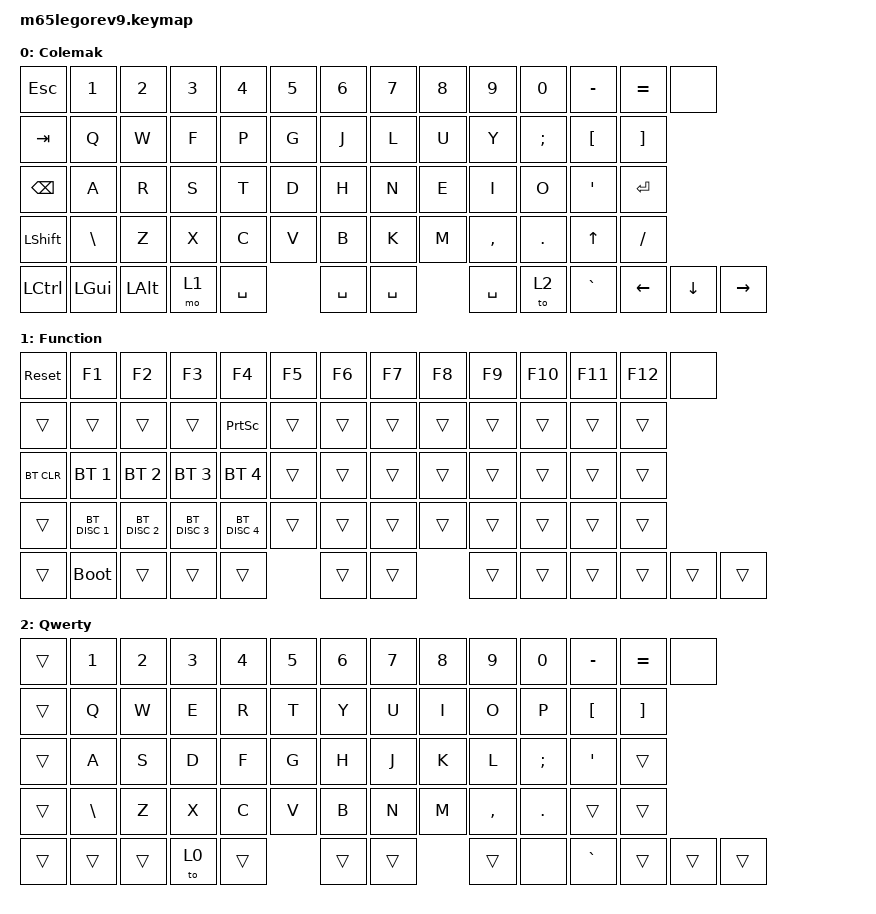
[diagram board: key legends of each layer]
#include <behaviors.dtsi>
#include <dt-bindings/zmk/keys.h>
#include <dt-bindings/zmk/behaviors.h>
#include <dt-bindings/zmk/bt.h>
#include <dt-bindings/zmk/hid_usage_pages.h>

/ {
  keymap {
    compatible = "zmk,keymap";

    default_layer { // 0
      display-name = "Colemak";
      // --------------------------------------------------------------------------------------------------
      // | ESC   |   1   |  2   |  3   |   4   |   5   |   6   |   7   |  8   |  9  |  0   |  -   |   =   |
      // | TAB   |   Q   |  W   |  F   |   P   |   G   |   J   |   L   |  U   |  Y  |  ;   |  [   |   ]   |
      // | BSPC  |   A   |  R   |  S   |   T   |   D   |   H   |   N   |  E   |  I  |  O   |  '   | ENTER |
      // | SHIFT |   \   |  Z   |  X   |   C   |   V   |   B   |   K   |  M   |  ,  |  .   |  UP  |   /   |
      // | LCTL  | SUPER | LALT | LOWR | SPACE | SPACE | SPACE | SPACE | RAIS |  `  | LEFT | DOWN | RIGHT |
      bindings = <
        &kp ESC    &kp N1   &kp N2 &kp N3 &kp N4 &kp N5 &kp N6 &kp N7 &kp N8 &kp N9    &kp N0   &kp MINUS        &kp EQUAL     &none
        &kp TAB    &kp Q    &kp W  &kp F  &kp P  &kp G  &kp J  &kp L  &kp U  &kp Y     &kp SEMI &kp LBKT         &kp RBKT
        &kp BSPC   &kp A    &kp R  &kp S  &kp T  &kp D  &kp H  &kp N  &kp E  &kp I     &kp O    &kp SINGLE_QUOTE &kp ENTER
        &kp LSHIFT &kp BSLH &kp Z  &kp X  &kp C  &kp V  &kp B  &kp K  &kp M  &kp COMMA &kp DOT  &kp UP           &kp FSLH 
        &kp LCTRL  &kp LGUI &kp LALT &mo 1  &kp SPACE &kp SPACE &kp SPACE &kp SPACE &to 2 &kp GRAVE &kp LEFT &kp DOWN &kp RIGHT
        >;
    };
    
    function { // 1
      display-name = "Function";
      // --------------------------------------------------------------------------------------------------
      // | RESET |  F1   | F2   | F3   |  F4   |  F5   |  F6   |  F7   | F8   | F9  |  F10 |  F11 |  F12  |
      // |       |       |      |      | PSCR  |       |       |       |      |     |      |      |       |
      // | BTCLR |  BT 1 | BT 2 | BT 3 | BT 4  |       |       |       |      |     |      |      |       |
      // |       | DC 1  | DC 2 | DC 3 | DC 4  |       |       |       |      |     |      |      |       |
      // |       | BTLDR |      |      |       |       |       |       |      |     |      |      |       |
      bindings = <
        &sys_reset    &kp F1        &kp F2         &kp F3        &kp F4      &kp F5 &kp F6 &kp F7 &kp F8 &kp F9 &kp F10 &kp F11 &kp F12 &none
        &trans        &trans        &trans       &trans      &kp PRINTSCREEN &trans &trans &trans &trans &trans &trans  &trans  &trans
        &bt BT_CLR &bt BT_SEL 1  &bt BT_SEL 2  &bt BT_SEL 3    &bt BT_SEL 4  &trans &trans &trans &trans &trans &trans  &trans  &trans
        &trans     &bt BT_DISC 1 &bt BT_DISC 2 &bt BT_DISC 3   &bt BT_DISC 4 &trans &trans &trans &trans &trans &trans  &trans  &trans
        &trans      &bootloader     &trans        &trans         &trans      &trans &trans &trans &trans &trans &trans  &trans  &trans
      >;
    };
    qwerty { // 3, QWERTY
      display-name = "Qwerty";
      // -------------------------------------------------------------------------------
      // |   |  1  |  2   |  3   |  4  |  5  |  6  |  7  |  8  |  9  |  0  |  -  |  =  |
      // |   |  Q  |  W   |  E   |  R  |  T  |  Y  |  U  |  I  |  O  |  P  |  [  |  ]  |
      // |   |  A  |  S   |  D   |  F  |  G  |  H  |  J  |  K  |  L  |  ;  |  '  |     |
      // |   |  \  |  Z   |  X   |  C  |  V  |  B  |  N  |  M  |  ,  |  .  |     |     |
      // |   |     |      | LWR  |     |     |     |     |     |  `  |     |     |     |
      bindings = <
        &trans &kp N1   &kp N2 &kp N3 &kp N4  &kp N5  &kp N6  &kp N7  &kp N8  &kp N9    &kp N0   &kp MINUS     &kp EQUAL &none
        &trans &kp Q    &kp W  &kp E  &kp R   &kp T   &kp Y   &kp U   &kp I   &kp O     &kp P    &kp LBKT      &kp RBKT
        &trans &kp A    &kp S  &kp D  &kp F   &kp G   &kp H   &kp J   &kp K   &kp L     &kp SEMI &kp SINGLE_QUOTE &trans
        &trans &kp BSLH &kp Z  &kp X  &kp C   &kp V   &kp B   &kp N   &kp M   &kp COMMA &kp DOT  &trans        &trans
        &trans &trans   &trans &to 0  &trans  &trans  &trans  &trans  &none   &kp GRAVE &trans   &trans        &trans
      >;
    };

    sensor-bindings = <&inc_dec_kp C_VOL_UP C_VOL_DN>;
  };
};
